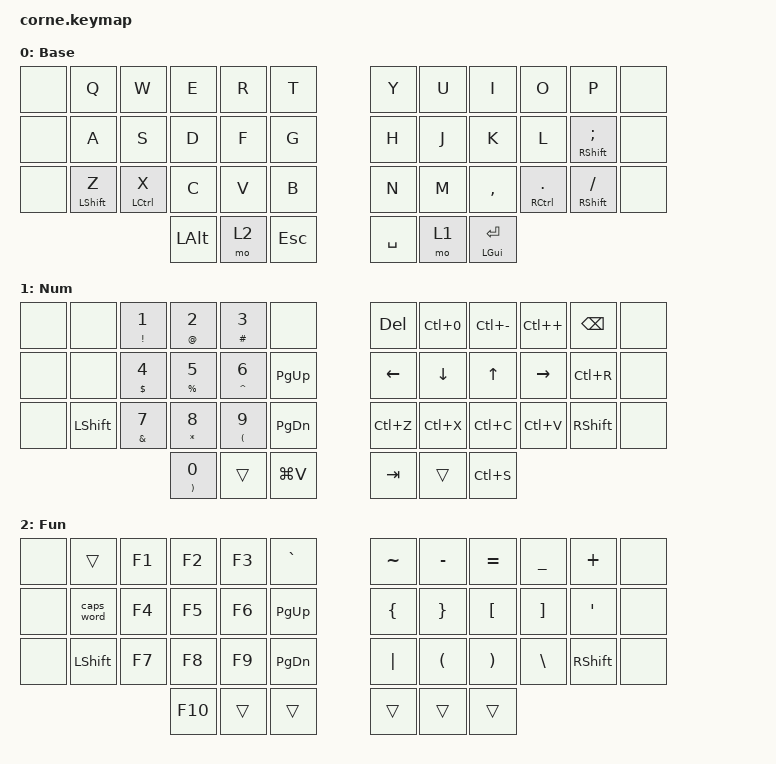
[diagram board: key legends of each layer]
#include <behaviors.dtsi>
#include <dt-bindings/zmk/keys.h>

#define DEF 0
#define NAV 1
#define SYM 2
#define ADJ 3

//testing mouse movement and scroll binds...

/ {
    behaviors {
        hm: homerow_mods {
            compatible = "zmk,behavior-hold-tap";
            label = "HOMEROW_MODS";
            #binding-cells = <2>;
            tapping-term-ms = <200>;
            quick_tap_ms = <0>;
            flavor = "tap-preferred";
            bindings = <&kp>, <&kp>;

            quick-tap-ms = <180>;
            global-quick-tap;
        };

        para: para {
            compatible = "zmk,behavior-tap-dance";
            label = "PARA";
            #binding-cells = <0>;
            bindings = <&kp LEFT_PARENTHESIS>, <&kp RIGHT_PARENTHESIS>;
        };

        caps: caps {
            compatible = "zmk,behavior-caps-word";
            label = "CAPS";
            #binding-cells = <0>;
            continue-list = <MINUS BACKSPACE>;
        };

        paraless: paraless {
            compatible = "zmk,behavior-mod-morph";
            label = "PARALESS";
            bindings = <&kp LEFT_PARENTHESIS>, <&kp LESS_THAN>;

            #binding-cells = <0>;
            mods = <(MOD_LSFT)>;
        };

        paragreat: paragreat {
            compatible = "zmk,behavior-mod-morph";
            label = "PARAGREAT";
            bindings = <&kp RIGHT_PARENTHESIS>, <&kp GREATER_THAN>;

            #binding-cells = <0>;
            mods = <(MOD_LSFT)>;
        };
    };

    combos { compatible = "zmk,combos"; };

    //

    keymap {
        compatible = "zmk,keymap";

        DEF {
            display-name = "Base";

            // -----------------------------------------------------------------------------------------
            // |  Q  |  W  |  E  |  R  |  T  |   |  Y  |  U   |  I  |  O  |  P  |
            // |  A  |  S  |  D  |  F  |  G  |   |  H  |  J   |  K  |  L  |  ;  |
            // |  Z  |  X  |  C  |  V  |  B  |   |  N  |  M   |  ,  |  .  |  /  |
            // | GUI | CTRL | SHFT | LWR | SPC |   | ENT | RSE  | BKSP | ALT | ESC |

            bindings = <
&none  &kp Q             &kp W               &kp E         &kp R  &kp T         &kp Y      &kp U  &kp I               &kp O                     &kp P                      &none
&none  &kp A             &kp S               &kp D         &kp F  &kp G         &kp H      &kp J  &kp K               &kp L                     &hm RIGHT_SHIFT SEMICOLON  &none
&none  &hm LEFT_SHIFT Z  &hm LEFT_CONTROL X  &kp C         &kp V  &kp B         &kp N      &kp M  &kp COMMA           &hm RIGHT_CONTROL PERIOD  &hm RSHFT SLASH            &none
                                             &kp LEFT_ALT  &mo 2  &kp ESCAPE    &kp SPACE  &mo 1  &mt LEFT_GUI ENTER
            >;
        };

        NUM {
            display-name = "Num";

            // -----------------------------------------------------------------------------------------
            // |  TAB |  1  |  2  |  3  |  4  |  5  |   |  6  |  7  |  8  |  9  |  0  | BKSP |
            // | BTCLR| BT1 | BT2 | BT3 | BT4 | BT5 |   | LFT | DWN |  UP | RGT |     |      |
            // | SHFT |     |     |     |     |     |   |     |     |     |     |     |      |
            // | GUI | CTRL | SHFT | LWR | SPC |   | ENT | RSE  | BKSP | ALT | ESC |

            bindings = <
&none  &none           &mt EXCLAMATION NUMBER_1  &mt AT_SIGN NUMBER_2      &mt HASH NUMBER_3        &none            &kp DELETE  &kp LC(N0)  &kp LC(MINUS)  &kp LC(PLUS)  &kp BACKSPACE    &none
&none  &none           &mt DOLLAR NUMBER_4       &mt PERCENT N5            &mt CARET NUMBER_6       &kp PAGE_UP      &kp LEFT    &kp DOWN    &kp UP_ARROW   &kp RIGHT     &kp LC(R)        &none
&none  &kp LEFT_SHIFT  &mt AMPERSAND N7          &mt ASTERISK N8           &mt LEFT_PARENTHESIS N9  &kp PAGE_DOWN    &kp LC(Z)   &kp LC(X)   &kp LC(C)      &kp LC(V)     &kp RIGHT_SHIFT  &none
                                                 &mt RIGHT_PARENTHESIS N0  &trans                   &kp LG(V)        &kp TAB     &trans      &kp LC(S)
            >;
        };

        FUN {
            display-name = "Fun";

            // -----------------------------------------------------------------------------------------
            // |  TAB |  !  |  @  |  #  |  $  |  %  |   |  ^  |  &  |  *  |  (  |  )  | BKSP |
            // | CTRL |     |     |     |     |     |   |  -  |  =  |  [  |  ]  |  \  |  `   |
            // | SHFT |     |     |     |     |     |   |  _  |  +  |  {  |  }  | "|" |  ~   |
            //                    | GUI |     | SPC |   | ENT |     | ALT |

            bindings = <
&none  &trans          &kp F1  &kp F2   &kp F3  &kp GRAVE        &kp TILDE       &kp MINUS             &kp EQUAL              &kp UNDER          &kp PLUS          &none
&none  &caps_word      &kp F4  &kp F5   &kp F6  &kp PG_UP        &kp LEFT_BRACE  &kp RIGHT_BRACE       &kp LEFT_BRACKET       &kp RIGHT_BRACKET  &kp SINGLE_QUOTE  &none
&none  &kp LEFT_SHIFT  &kp F7  &kp F8   &kp F9  &kp PAGE_DOWN    &kp PIPE        &kp LEFT_PARENTHESIS  &kp RIGHT_PARENTHESIS  &kp BACKSLASH      &kp RIGHT_SHIFT   &none
                               &kp F10  &trans  &trans           &trans          &trans                &trans
            >;
        };
    };

    conditional_layers {
        compatible = "zmk,conditional-layers";

        l3 {
            if-layers = <1 2>;
            then-layer = <3>;
        };
    };
};
